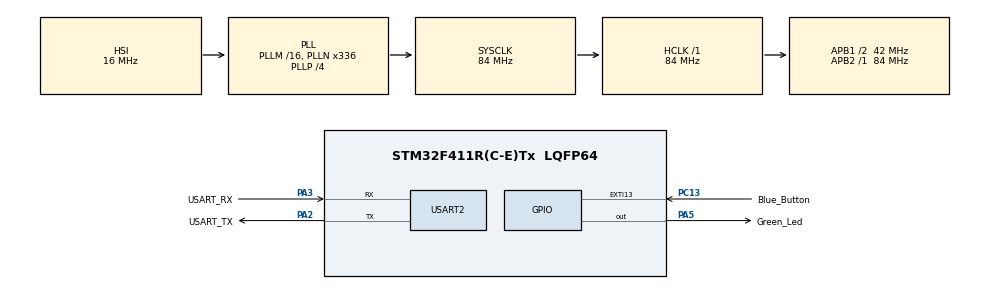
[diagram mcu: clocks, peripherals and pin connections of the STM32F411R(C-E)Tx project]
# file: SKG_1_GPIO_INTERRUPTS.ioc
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Mcu.Family=STM32F4
Mcu.Name=STM32F411R(C-E)Tx
Mcu.Package=LQFP64
NVIC.EXTI15_10_IRQn=true\:0\:0\:false\:false\:true\:true\:true\:true
NVIC.PriorityGroup=NVIC_PRIORITYGROUP_0
PA13.GPIO_Label=TMS
PA13.Mode=Serial_Wire
PA13.Signal=SYS_JTMS-SWDIO
PA14.GPIO_Label=TCK
PA14.Mode=Serial_Wire
PA14.Signal=SYS_JTCK-SWCLK
PA2.GPIO_Label=USART_TX
PA2.Mode=Asynchronous
PA2.Signal=USART2_TX
PA3.GPIO_Label=USART_RX
PA3.Mode=Asynchronous
PA3.Signal=USART2_RX
PA5.GPIO_Label=Green_Led
PA5.Signal=GPIO_Output
PB3.GPIO_Label=SWO
PB3.Signal=SYS_JTDO-SWO
PC13-ANTI_TAMP.GPIO_Label=Blue_Button
PC13-ANTI_TAMP.GPIO_ModeDefaultEXTI=GPIO_MODE_IT_RISING
PC13-ANTI_TAMP.Signal=GPXTI13
PC14-OSC32_IN.Mode=LSE-External-Oscillator
PC14-OSC32_IN.Signal=RCC_OSC32_IN
PC15-OSC32_OUT.Mode=LSE-External-Oscillator
PC15-OSC32_OUT.Signal=RCC_OSC32_OUT
PH0\ -\ OSC_IN.Mode=HSE-External-Clock-Source
PH0\ -\ OSC_IN.Signal=RCC_OSC_IN
PH1\ -\ OSC_OUT.Mode=HSE-External-Clock-Source
PH1\ -\ OSC_OUT.Signal=RCC_OSC_OUT
ProjectManager.HeapSize=0x200
ProjectManager.StackSize=0x400
ProjectManager.TargetToolchain=STM32CubeIDE
RCC.48MHZClocksFreq_Value=84000000
RCC.AHBFreq_Value=84000000
RCC.APB1CLKDivider=RCC_HCLK_DIV2
RCC.APB1Freq_Value=42000000
RCC.APB1TimFreq_Value=84000000
RCC.APB2Freq_Value=84000000
RCC.APB2TimFreq_Value=84000000
RCC.CortexFreq_Value=84000000
RCC.FLatency-AdvancedSettings=FLASH_LATENCY_2
RCC.HCLKFreq_Value=84000000
RCC.HSE_VALUE=8000000
RCC.HSI_VALUE=16000000
RCC.PLLN=336
RCC.PLLP=RCC_PLLP_DIV4
RCC.SYSCLKFreq_VALUE=84000000
RCC.SYSCLKSource=RCC_SYSCLKSOURCE_PLLCLK
RCC.VCOOutputFreq_Value=336000000
USART2.VirtualMode=VM_ASYNC
board=NUCLEO-F411RE

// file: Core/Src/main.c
/* USER CODE BEGIN Header */
/**
  ******************************************************************************
  * @file           : main.c
  * @brief          : Main program body
  ******************************************************************************
  * @attention
  *
  * Copyright (c) 2023 STMicroelectronics.
  * All rights reserved.
  *
  * This software is licensed under terms that can be found in the LICENSE file
  * in the root directory of this software component.
  * If no LICENSE file comes with this software, it is provided AS-IS.
  *
  ******************************************************************************
  */
/* USER CODE END Header */
#include "main.h"
#include "usart.h"
#include "gpio.h"

/* USER CODE BEGIN Includes */
#include "stdbool.h"
/* USER CODE END Includes */

/* USER CODE BEGIN PV */
volatile bool s_gpio_pressed;
/* USER CODE END PV */

void SystemClock_Config(void);
/* USER CODE BEGIN PFP */
void HAL_GPIO_EXTI_Callback(uint16_t GPIO_Pin);
/* USER CODE END PFP */

int main(void)
{

  /* MCU Configuration--------------------------------------------------------*/

  /* Reset of all peripherals, Initializes the Flash interface and the Systick. */
  HAL_Init();

  /* Configure the system clock */
  SystemClock_Config();

  /* Initialize all configured peripherals */
  MX_GPIO_Init();
  MX_USART2_UART_Init();

  /* Infinite loop */
  /* USER CODE BEGIN WHILE */
  while (1)
  {
	  uint32_t time;
	  uint32_t variable_jump;

	  if (true == s_gpio_pressed)
	  {
		  for (time = 1000; time > 0; time = time - variable_jump)
		  {
			  HAL_GPIO_TogglePin(Green_Led_GPIO_Port, Green_Led_Pin);
			  HAL_Delay(time);
			  if (time > 250)
			  {
				  variable_jump = 50;
			  }
			  else
			  {
				  variable_jump = 10;
			  }
		  }
		  HAL_GPIO_WritePin(Green_Led_GPIO_Port, Green_Led_Pin, GPIO_PIN_RESET);
		  HAL_Delay(20);
		  __HAL_PWR_PVD_EXTI_ENABLE_IT();
		  s_gpio_pressed = false;
	  }

    /* USER CODE END WHILE */

  }
}

void SystemClock_Config(void)
{
  RCC_OscInitTypeDef RCC_OscInitStruct = {0};
  RCC_ClkInitTypeDef RCC_ClkInitStruct = {0};

  /** Configure the main internal regulator output voltage
  */
  __HAL_RCC_PWR_CLK_ENABLE();
  __HAL_PWR_VOLTAGESCALING_CONFIG(PWR_REGULATOR_VOLTAGE_SCALE1);

  /** Initializes the RCC Oscillators according to the specified parameters
  * in the RCC_OscInitTypeDef structure.
  */
  RCC_OscInitStruct.OscillatorType = RCC_OSCILLATORTYPE_HSI;
  RCC_OscInitStruct.HSIState = RCC_HSI_ON;
  RCC_OscInitStruct.HSICalibrationValue = RCC_HSICALIBRATION_DEFAULT;
  RCC_OscInitStruct.PLL.PLLState = RCC_PLL_ON;
  RCC_OscInitStruct.PLL.PLLSource = RCC_PLLSOURCE_HSI;
  RCC_OscInitStruct.PLL.PLLM = 16;
  RCC_OscInitStruct.PLL.PLLN = 336;
  RCC_OscInitStruct.PLL.PLLP = RCC_PLLP_DIV4;
  RCC_OscInitStruct.PLL.PLLQ = 4;
  if (HAL_RCC_OscConfig(&RCC_OscInitStruct) != HAL_OK)
  {
    Error_Handler();
  }

  /** Initializes the CPU, AHB and APB buses clocks
  */
  RCC_ClkInitStruct.ClockType = RCC_CLOCKTYPE_HCLK|RCC_CLOCKTYPE_SYSCLK
                              |RCC_CLOCKTYPE_PCLK1|RCC_CLOCKTYPE_PCLK2;
  RCC_ClkInitStruct.SYSCLKSource = RCC_SYSCLKSOURCE_PLLCLK;
  RCC_ClkInitStruct.AHBCLKDivider = RCC_SYSCLK_DIV1;
  RCC_ClkInitStruct.APB1CLKDivider = RCC_HCLK_DIV2;
  RCC_ClkInitStruct.APB2CLKDivider = RCC_HCLK_DIV1;

  if (HAL_RCC_ClockConfig(&RCC_ClkInitStruct, FLASH_LATENCY_2) != HAL_OK)
  {
    Error_Handler();
  }
}

/* USER CODE BEGIN 4 */
void HAL_GPIO_EXTI_Callback(uint16_t GPIO_Pin)
{
	s_gpio_pressed = true;
	__HAL_PWR_PVD_EXTI_DISABLE_IT();
}
/* USER CODE END 4 */

void Error_Handler(void)
{
  __disable_irq();
  while (1)
  {
  }
}
